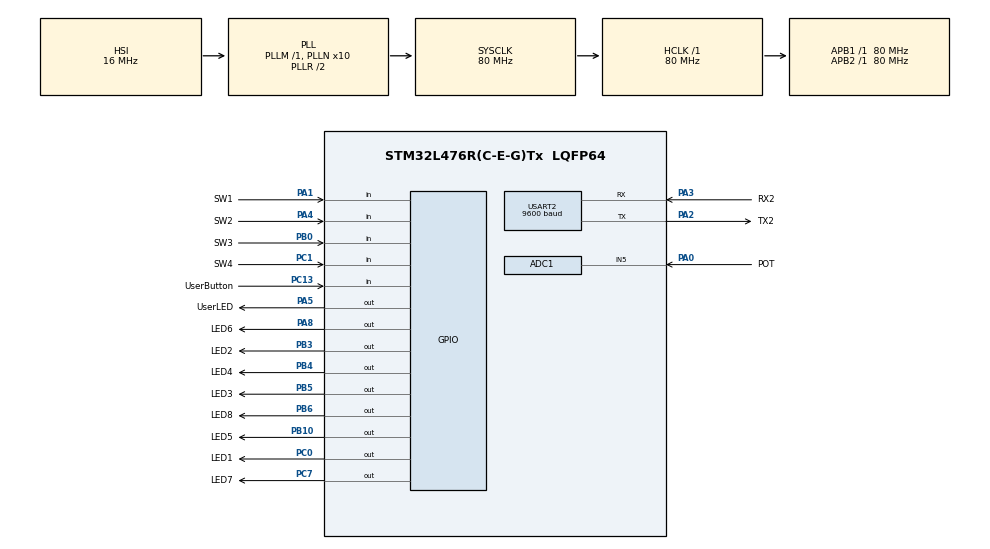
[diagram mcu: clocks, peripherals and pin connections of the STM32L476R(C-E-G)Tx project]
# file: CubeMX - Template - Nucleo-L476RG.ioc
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ADC1.Channel-0\#ChannelRegularConversion=ADC_CHANNEL_5
ADC1.NbrOfConversionFlag=1
ADC1.OffsetNumber-0\#ChannelRegularConversion=ADC_OFFSET_NONE
ADC1.Overrun=ADC_OVR_DATA_OVERWRITTEN
ADC1.Rank-0\#ChannelRegularConversion=1
ADC1.Resolution=ADC_RESOLUTION_12B
ADC1.SamplingTime-0\#ChannelRegularConversion=ADC_SAMPLETIME_2CYCLES_5
ADC1.master=1
FREERTOS.Queues01=messageQueue,3,uint16_t,0,Dynamic,NULL,NULL
FREERTOS.Tasks01=RunningLightsTh,24,128,RunningLights,Default,NULL,Dynamic,NULL,NULL;Usart2Thread,24,128,Usart2,Default,NULL,Dynamic,NULL,NULL
FREERTOS.configUSE_NEWLIB_REENTRANT=0
Mcu.Family=STM32L4
Mcu.Name=STM32L476R(C-E-G)Tx
Mcu.Package=LQFP64
NVIC.PriorityGroup=NVIC_PRIORITYGROUP_4
NVIC.TIM6_DAC_IRQn=true\:15\:0\:false\:false\:true\:false\:false\:true\:true
NVIC.TimeBase=TIM6_DAC_IRQn
NVIC.TimeBaseIP=TIM6
PA0.GPIO_Label=POT
PA0.Signal=ADCx_IN5
PA1.GPIO_Label=SW1
PA1.Signal=GPIO_Input
PA13\ (JTMS-SWDIO).GPIO_Label=TMS
PA13\ (JTMS-SWDIO).Mode=Serial_Wire
PA13\ (JTMS-SWDIO).Signal=SYS_JTMS-SWDIO
PA14\ (JTCK-SWCLK).GPIO_Label=TCK
PA14\ (JTCK-SWCLK).Mode=Serial_Wire
PA14\ (JTCK-SWCLK).Signal=SYS_JTCK-SWCLK
PA2.GPIO_Label=TX2
PA2.GPIO_Mode=GPIO_MODE_AF_PP
PA2.GPIO_PuPd=GPIO_NOPULL
PA2.GPIO_Speed=GPIO_SPEED_FREQ_VERY_HIGH
PA2.Mode=Asynchronous
PA2.Signal=USART2_TX
PA3.GPIO_Label=RX2
PA3.GPIO_Mode=GPIO_MODE_AF_PP
PA3.GPIO_PuPd=GPIO_NOPULL
PA3.GPIO_Speed=GPIO_SPEED_FREQ_VERY_HIGH
PA3.Mode=Asynchronous
PA3.Signal=USART2_RX
PA4.GPIO_Label=SW2
PA4.Signal=GPIO_Input
PA5.GPIO_Label=UserLED
PA5.GPIO_ModeDefaultOutputPP=GPIO_MODE_OUTPUT_PP
PA5.GPIO_PuPd=GPIO_NOPULL
PA5.GPIO_Speed=GPIO_SPEED_FREQ_LOW
PA5.Signal=GPIO_Output
PA8.GPIO_Label=LED6
PA8.Signal=GPIO_Output
PB0.GPIO_Label=SW3
PB0.Signal=GPIO_Input
PB10.GPIO_Label=LED5
PB10.Signal=GPIO_Output
PB3\ (JTDO-TRACESWO).GPIO_Label=LED2
PB3\ (JTDO-TRACESWO).Signal=GPIO_Output
PB4\ (NJTRST).GPIO_Label=LED4
PB4\ (NJTRST).Signal=GPIO_Output
PB5.GPIO_Label=LED3
PB5.Signal=GPIO_Output
PB6.GPIO_Label=LED8
PB6.Signal=GPIO_Output
PC0.GPIO_Label=LED1
PC0.Signal=GPIO_Output
PC1.GPIO_Label=SW4
PC1.Signal=GPIO_Input
PC13.GPIO_Label=UserButton
PC13.Signal=GPIO_Input
PC7.GPIO_Label=LED7
PC7.Signal=GPIO_Output
ProjectManager.HeapSize=0x200
ProjectManager.StackSize=0x400
ProjectManager.TargetToolchain=MDK-ARM V5.32
RCC.ADCFreq_Value=64000000
RCC.AHBFreq_Value=80000000
RCC.APB1Freq_Value=80000000
RCC.APB1TimFreq_Value=80000000
RCC.APB2Freq_Value=80000000
RCC.APB2TimFreq_Value=80000000
RCC.CortexFreq_Value=80000000
RCC.HCLKFreq_Value=80000000
RCC.HSE_VALUE=8000000
RCC.HSI_VALUE=16000000
RCC.LSE_VALUE=32768
RCC.MSI_VALUE=4000000
RCC.PLLN=10
RCC.PLLSourceVirtual=RCC_PLLSOURCE_HSI
RCC.PREFETCH_ENABLE=1
RCC.SYSCLKFreq_VALUE=80000000
RCC.SYSCLKSource=RCC_SYSCLKSOURCE_PLLCLK
RCC.USBFreq_Value=64000000
RCC.VCOOutputFreq_Value=160000000
SH.ADCx_IN5.0=ADC1_IN5,IN5-Single-Ended
USART2.BaudRate=9600
USART2.OverrunDisableParam=ADVFEATURE_OVERRUN_DISABLE
USART2.VirtualMode-Asynchronous=VM_ASYNC
VP_FREERTOS_VS_CMSIS_V2.Mode=CMSIS_V2
VP_SYS_VS_tim6.Mode=TIM6
board=NUCLEO-L476RG

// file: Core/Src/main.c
/* USER CODE BEGIN Header */
/**
  ******************************************************************************
  * @file           : main.c
  * @brief          : Main program body
  ******************************************************************************
  * @attention
  *
  * Copyright (c) 2023 STMicroelectronics.
  * All rights reserved.
  *
  * This software is licensed under terms that can be found in the LICENSE file
  * in the root directory of this software component.
  * If no LICENSE file comes with this software, it is provided AS-IS.
  *
  ******************************************************************************
  */
	// Versie: 20252026
/* USER CODE END Header */
#include "main.h"
#include "cmsis_os.h"

/* USER CODE BEGIN Includes */
#include "leds.h"
#include "buttons.h"
#include "usart2.h"
#include "ad.h"
#include "stdio.h"
#include "string.h"
/* USER CODE END Includes */

/* USER CODE BEGIN PD */
#define MESSAGE "Hallo CMSIS RTOS V2...\r\n"
/* USER CODE END PD */

ADC_HandleTypeDef hadc1;

UART_HandleTypeDef huart2;

/* Definitions for RunningLightsTh */
osThreadId_t RunningLightsThHandle;
const osThreadAttr_t RunningLightsTh_attributes = {
  .name = "RunningLightsTh",
  .stack_size = 128 * 4,
  .priority = (osPriority_t) osPriorityNormal,
};
/* Definitions for Usart2Thread */
osThreadId_t Usart2ThreadHandle;
const osThreadAttr_t Usart2Thread_attributes = {
  .name = "Usart2Thread",
  .stack_size = 128 * 4,
  .priority = (osPriority_t) osPriorityNormal,
};
/* Definitions for messageQueue */
osMessageQueueId_t messageQueueHandle;
const osMessageQueueAttr_t messageQueue_attributes = {
  .name = "messageQueue"
};

void SystemClock_Config(void);
static void MX_GPIO_Init(void);
static void MX_ADC1_Init(void);
static void MX_USART2_UART_Init(void);
void RunningLights(void *argument);
void Usart2(void *argument);

int main(void)
{

  /* MCU Configuration--------------------------------------------------------*/

  /* Reset of all peripherals, Initializes the Flash interface and the Systick. */
  HAL_Init();

  /* Configure the system clock */
  SystemClock_Config();

  /* Initialize all configured peripherals */
  MX_GPIO_Init();
  MX_ADC1_Init();
  MX_USART2_UART_Init();
  /* USER CODE BEGIN 2 */
	// Laten weten dat we opgestart zijn, via de USART2 (USB).
	printf("Reboot\r\n");
  /* USER CODE END 2 */

  /* Init scheduler */
  osKernelInitialize();

  /* Create the queue(s) */
  /* creation of messageQueue */
  messageQueueHandle = osMessageQueueNew (3, sizeof(uint16_t), &messageQueue_attributes);

  /* Create the thread(s) */
  /* creation of RunningLightsTh */
  RunningLightsThHandle = osThreadNew(RunningLights, NULL, &RunningLightsTh_attributes);

  /* creation of Usart2Thread */
  Usart2ThreadHandle = osThreadNew(Usart2, NULL, &Usart2Thread_attributes);

  /* Start scheduler */
  osKernelStart();

  /* We should never get here as control is now taken by the scheduler */

  /* Infinite loop */
  while (1)
  {

  }
}

void SystemClock_Config(void)
{
  RCC_OscInitTypeDef RCC_OscInitStruct = {0};
  RCC_ClkInitTypeDef RCC_ClkInitStruct = {0};

  /** Configure the main internal regulator output voltage
  */
  if (HAL_PWREx_ControlVoltageScaling(PWR_REGULATOR_VOLTAGE_SCALE1) != HAL_OK)
  {
    Error_Handler();
  }

  /** Initializes the RCC Oscillators according to the specified parameters
  * in the RCC_OscInitTypeDef structure.
  */
  RCC_OscInitStruct.OscillatorType = RCC_OSCILLATORTYPE_HSI;
  RCC_OscInitStruct.HSIState = RCC_HSI_ON;
  RCC_OscInitStruct.HSICalibrationValue = RCC_HSICALIBRATION_DEFAULT;
  RCC_OscInitStruct.PLL.PLLState = RCC_PLL_ON;
  RCC_OscInitStruct.PLL.PLLSource = RCC_PLLSOURCE_HSI;
  RCC_OscInitStruct.PLL.PLLM = 1;
  RCC_OscInitStruct.PLL.PLLN = 10;
  RCC_OscInitStruct.PLL.PLLP = RCC_PLLP_DIV7;
  RCC_OscInitStruct.PLL.PLLQ = RCC_PLLQ_DIV2;
  RCC_OscInitStruct.PLL.PLLR = RCC_PLLR_DIV2;
  if (HAL_RCC_OscConfig(&RCC_OscInitStruct) != HAL_OK)
  {
    Error_Handler();
  }

  /** Initializes the CPU, AHB and APB buses clocks
  */
  RCC_ClkInitStruct.ClockType = RCC_CLOCKTYPE_HCLK|RCC_CLOCKTYPE_SYSCLK
                              |RCC_CLOCKTYPE_PCLK1|RCC_CLOCKTYPE_PCLK2;
  RCC_ClkInitStruct.SYSCLKSource = RCC_SYSCLKSOURCE_PLLCLK;
  RCC_ClkInitStruct.AHBCLKDivider = RCC_SYSCLK_DIV1;
  RCC_ClkInitStruct.APB1CLKDivider = RCC_HCLK_DIV1;
  RCC_ClkInitStruct.APB2CLKDivider = RCC_HCLK_DIV1;

  if (HAL_RCC_ClockConfig(&RCC_ClkInitStruct, FLASH_LATENCY_4) != HAL_OK)
  {
    Error_Handler();
  }
}

static void MX_ADC1_Init(void)
{

  ADC_MultiModeTypeDef multimode = {0};
  ADC_ChannelConfTypeDef sConfig = {0};

  /** Common config
  */
  hadc1.Instance = ADC1;
  hadc1.Init.ClockPrescaler = ADC_CLOCK_ASYNC_DIV1;
  hadc1.Init.Resolution = ADC_RESOLUTION_12B;
  hadc1.Init.DataAlign = ADC_DATAALIGN_RIGHT;
  hadc1.Init.ScanConvMode = ADC_SCAN_DISABLE;
  hadc1.Init.EOCSelection = ADC_EOC_SINGLE_CONV;
  hadc1.Init.LowPowerAutoWait = DISABLE;
  hadc1.Init.ContinuousConvMode = DISABLE;
  hadc1.Init.NbrOfConversion = 1;
  hadc1.Init.DiscontinuousConvMode = DISABLE;
  hadc1.Init.ExternalTrigConv = ADC_SOFTWARE_START;
  hadc1.Init.ExternalTrigConvEdge = ADC_EXTERNALTRIGCONVEDGE_NONE;
  hadc1.Init.DMAContinuousRequests = DISABLE;
  hadc1.Init.Overrun = ADC_OVR_DATA_OVERWRITTEN;
  hadc1.Init.OversamplingMode = DISABLE;
  if (HAL_ADC_Init(&hadc1) != HAL_OK)
  {
    Error_Handler();
  }

  /** Configure the ADC multi-mode
  */
  multimode.Mode = ADC_MODE_INDEPENDENT;
  if (HAL_ADCEx_MultiModeConfigChannel(&hadc1, &multimode) != HAL_OK)
  {
    Error_Handler();
  }

  /** Configure Regular Channel
  */
  sConfig.Channel = ADC_CHANNEL_5;
  sConfig.Rank = ADC_REGULAR_RANK_1;
  sConfig.SamplingTime = ADC_SAMPLETIME_2CYCLES_5;
  sConfig.SingleDiff = ADC_SINGLE_ENDED;
  sConfig.OffsetNumber = ADC_OFFSET_NONE;
  sConfig.Offset = 0;
  if (HAL_ADC_ConfigChannel(&hadc1, &sConfig) != HAL_OK)
  {
    Error_Handler();
  }

}

static void MX_USART2_UART_Init(void)
{

  huart2.Instance = USART2;
  huart2.Init.BaudRate = 9600;
  huart2.Init.WordLength = UART_WORDLENGTH_8B;
  huart2.Init.StopBits = UART_STOPBITS_1;
  huart2.Init.Parity = UART_PARITY_NONE;
  huart2.Init.Mode = UART_MODE_TX_RX;
  huart2.Init.HwFlowCtl = UART_HWCONTROL_NONE;
  huart2.Init.OverSampling = UART_OVERSAMPLING_16;
  huart2.Init.OneBitSampling = UART_ONE_BIT_SAMPLE_DISABLE;
  huart2.AdvancedInit.AdvFeatureInit = UART_ADVFEATURE_RXOVERRUNDISABLE_INIT;
  huart2.AdvancedInit.OverrunDisable = UART_ADVFEATURE_OVERRUN_DISABLE;
  if (HAL_UART_Init(&huart2) != HAL_OK)
  {
    Error_Handler();
  }

}

static void MX_GPIO_Init(void)
{
  GPIO_InitTypeDef GPIO_InitStruct = {0};

  /* GPIO Ports Clock Enable */
  __HAL_RCC_GPIOC_CLK_ENABLE();
  __HAL_RCC_GPIOA_CLK_ENABLE();
  __HAL_RCC_GPIOB_CLK_ENABLE();

  /*Configure GPIO pin Output Level */
  HAL_GPIO_WritePin(GPIOC, LED1_Pin|LED7_Pin, GPIO_PIN_RESET);

  /*Configure GPIO pin Output Level */
  HAL_GPIO_WritePin(GPIOA, UserLED_Pin|LED6_Pin, GPIO_PIN_RESET);

  /*Configure GPIO pin Output Level */
  HAL_GPIO_WritePin(GPIOB, LED5_Pin|LED2_Pin|LED4_Pin|LED3_Pin
                          |LED8_Pin, GPIO_PIN_RESET);

  /*Configure GPIO pins : UserButton_Pin SW4_Pin */
  GPIO_InitStruct.Pin = UserButton_Pin|SW4_Pin;
  GPIO_InitStruct.Mode = GPIO_MODE_INPUT;
  GPIO_InitStruct.Pull = GPIO_NOPULL;
  HAL_GPIO_Init(GPIOC, &GPIO_InitStruct);

  /*Configure GPIO pins : LED1_Pin LED7_Pin */
  GPIO_InitStruct.Pin = LED1_Pin|LED7_Pin;
  GPIO_InitStruct.Mode = GPIO_MODE_OUTPUT_PP;
  GPIO_InitStruct.Pull = GPIO_NOPULL;
  GPIO_InitStruct.Speed = GPIO_SPEED_FREQ_LOW;
  HAL_GPIO_Init(GPIOC, &GPIO_InitStruct);

  /*Configure GPIO pins : SW1_Pin SW2_Pin */
  GPIO_InitStruct.Pin = SW1_Pin|SW2_Pin;
  GPIO_InitStruct.Mode = GPIO_MODE_INPUT;
  GPIO_InitStruct.Pull = GPIO_NOPULL;
  HAL_GPIO_Init(GPIOA, &GPIO_InitStruct);

  /*Configure GPIO pins : UserLED_Pin LED6_Pin */
  GPIO_InitStruct.Pin = UserLED_Pin|LED6_Pin;
  GPIO_InitStruct.Mode = GPIO_MODE_OUTPUT_PP;
  GPIO_InitStruct.Pull = GPIO_NOPULL;
  GPIO_InitStruct.Speed = GPIO_SPEED_FREQ_LOW;
  HAL_GPIO_Init(GPIOA, &GPIO_InitStruct);

  /*Configure GPIO pin : SW3_Pin */
  GPIO_InitStruct.Pin = SW3_Pin;
  GPIO_InitStruct.Mode = GPIO_MODE_INPUT;
  GPIO_InitStruct.Pull = GPIO_NOPULL;
  HAL_GPIO_Init(SW3_GPIO_Port, &GPIO_InitStruct);

  /*Configure GPIO pins : LED5_Pin LED2_Pin LED4_Pin LED3_Pin
                           LED8_Pin */
  GPIO_InitStruct.Pin = LED5_Pin|LED2_Pin|LED4_Pin|LED3_Pin
                          |LED8_Pin;
  GPIO_InitStruct.Mode = GPIO_MODE_OUTPUT_PP;
  GPIO_InitStruct.Pull = GPIO_NOPULL;
  GPIO_InitStruct.Speed = GPIO_SPEED_FREQ_LOW;
  HAL_GPIO_Init(GPIOB, &GPIO_InitStruct);

}

void RunningLights(void *argument)
{
  /* USER CODE BEGIN 5 */
	uint8_t count = 0, leds = 0x01;
	uint16_t delay = 100;
	uint16_t message = 0;
	osStatus_t status = osOK;

  /* Infinite loop */
  for(;;)
  {
		// OPM: message priority is nog niet ge�mplementeerd in FreeRTOS/CMSIS RTOS V2. Dat argument mag op 0
		// gezet worden.
		status = osMessageQueueGet(messageQueueHandle, &message, 0, 5);

		// Is er een nieuw bericht ontvangen? Ga verder met die nieuwe waarde.
		if(status == osOK)
			delay = message;

		// Looplicht maken.
		for(count = 0; count < 8; count++)
		{
			ByteToLeds(leds);

			leds <<= 1;
			if(leds == 0x00)
				leds = 0x01;

			// Even wachten (in Blocked status).
			osDelay(delay);
		}
  }
  /* USER CODE END 5 */
}

void Usart2(void *argument)
{
  /* USER CODE BEGIN Usart2 */
	uint16_t requestedDelay = 0;

  /* Infinite loop */
  for(;;)
  {
		// Vragen aan de gebruiker wat de gewenste wachttijd (delay) moet zijn voor het looplicht.
		printf("\r\nWat is de gewenste wachttijd (groter dan 0) voor het looplicht (in milliseconden)? ");
		scanf("%hu", &requestedDelay);		// %hu vraagt een unsigned short int op
																			// (https://www.tutorialspoint.com/c_standard_library/c_function_scanf.htm).

		// Beveiligen tegen '0' wachttijd.
		if(requestedDelay == 0)
			requestedDelay = 1;

		// Melding maken van het opgeslagen getal.
		// %hu toont een unsigned short int (https://www.tutorialspoint.com/c_standard_library/c_function_printf.htm).
		printf("\r\nDe ingelezen gewenste wachttijd is: %hu ms.\r\n", requestedDelay);

		// Nieuwe waarde opslaan in een Message Queue, zodat die gelezen kan worden door een andere thread.
		// Ook hier is de prioriteit niet ge�mplementeerd en hoef je er dus niets mee te doen.
		osMessageQueuePut(messageQueueHandle, &requestedDelay, 0, osWaitForever);

		// Melden dat de queue is aangevuld. Probeer maar eens vrij snel nieuwe waardes in te voeren. Dan
		// is te zien dat onderstaande melding op zich laat wachten als er geen plaats meer is in de queue.
		// Info over de gebruikte functies,
		// zie: https://arm-software.github.io/CMSIS_5/RTOS2/html/group__CMSIS__RTOS__Message.html.
		printf("De queue werd aangevuld (%d/%d).\r\n\r\n", osMessageQueueGetCount(messageQueueHandle),
						osMessageQueueGetCapacity(messageQueueHandle));
  }
  /* USER CODE END Usart2 */
}

void HAL_TIM_PeriodElapsedCallback(TIM_HandleTypeDef *htim)
{
  if (htim->Instance == TIM6)
  {
    HAL_IncTick();
  }
}

void Error_Handler(void)
{
  __disable_irq();
  while (1)
  {
  }
}
#ifdef USE_FULL_ASSERT
/**
  * @brief  Reports the name of the source file and the source line number
  *         where the assert_param error has occurred.
  * @param  file: pointer to the source file name
  * @param  line: assert_param error line source number
  * @retval None
  */
void assert_failed(uint8_t *file, uint32_t line)
{
  /* USER CODE BEGIN 6 */
  /* User can add his own implementation to report the file name and line number,
     ex: printf("Wrong parameters value: file %s on line %d\r\n", file, line) */
// Versie: 20252026
  /* USER CODE END 6 */
}
#endif /* USE_FULL_ASSERT */
